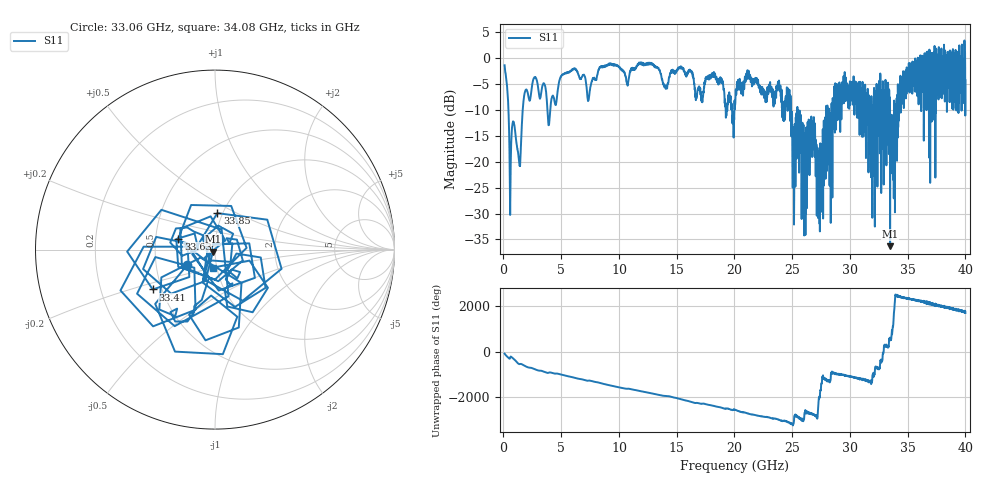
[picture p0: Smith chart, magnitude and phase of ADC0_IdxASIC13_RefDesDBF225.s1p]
! ADC = 0
! IdxASIC = 13
! RefDesDBF = 225
# Hz S DB R 50
! freq  S11(dB)  S11(deg)
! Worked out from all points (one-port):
!   3991 points, 100 MHz to 40 GHz, reference 50 ohm
!   lowest |S11| = -36.3 dB at 33.48 GHz (marker M1), VSWR 1.03, Z = 48.9 - j1.05 ohm
!   |S11| at or under -10 dB: 432.1 MHz to 1.67 GHz (1.238 GHz wide, 118 % of centre); 24.9 GHz to 25.44 GHz (538.2 MHz wide, 2.14 % of centre); 25.45 GHz to 27.95 GHz (2.492 GHz wide, 9.33 % of centre)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
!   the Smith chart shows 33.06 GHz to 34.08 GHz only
!   S11 on the Smith chart (normalised r, x): 33.06 GHz: 0.72, -0.13; 33.41 GHz: 0.45, -0.24; 33.63 GHz: 0.66, +0.08; 33.85 GHz: 0.94, +0.40; 34.08 GHz: 0.95, -0.19
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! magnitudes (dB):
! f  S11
! 100 MHz  -1.5
! 580 MHz  -30.3
! 1.33 GHz  -19.4
! 1.92 GHz  -6.2
! 3.95 GHz  -12.9
! 5.09 GHz  -3.3
! 10.08 GHz  -2.1
! 15.07 GHz  -2.4
! 20.05 GHz  -9.3
! 21.18 GHz  -3.3
! 23.81 GHz  -5.3
! 24.71 GHz  -9.5
! 25.04 GHz  -22.3
! 25.6 GHz  -22.1
! 26.1 GHz  -16.2
! 26.83 GHz  -14.7
! 27.31 GHz  -29.9
! 28.69 GHz  -10.2
! 30.03 GHz  -9.1
! 31.88 GHz  -11.7
! 33.06 GHz  -15.0
! 33.41 GHz  -7.7
! 33.48 GHz  -36.3
! 33.63 GHz  -13.4
! 33.85 GHz  -13.8
! 34.08 GHz  -19.9
! 35.02 GHz  -3.5
! 40 GHz  -4.3
